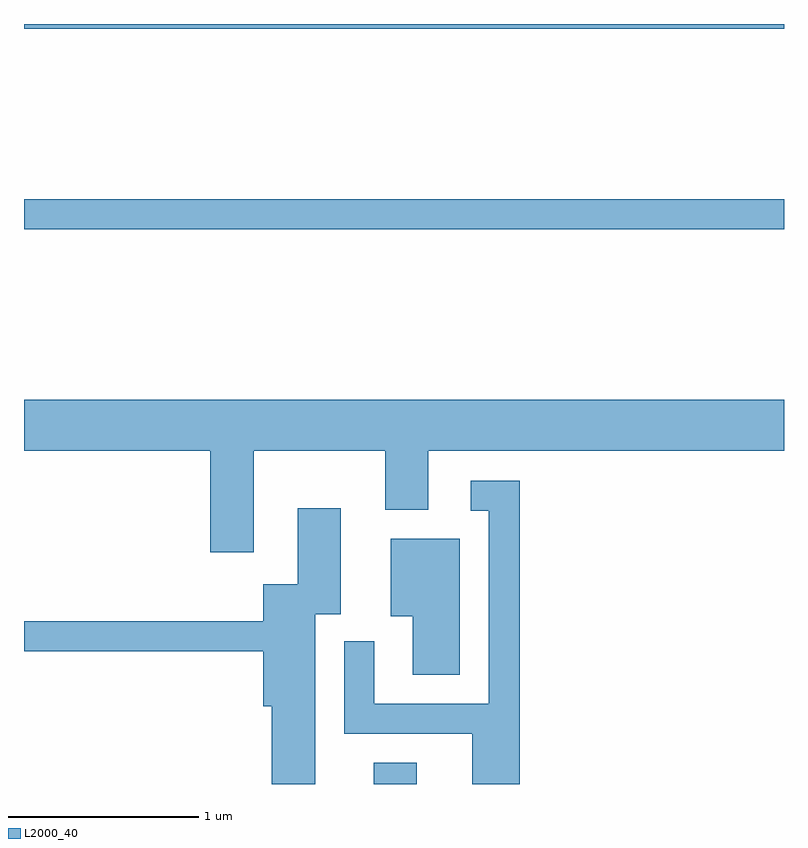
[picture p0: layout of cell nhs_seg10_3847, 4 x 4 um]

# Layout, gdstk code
import gdstk
lib = gdstk.Library(unit=1e-6, precision=1e-09)
def R(c, l, rs):  # rectangles x0, y0, x1, y1
    for r in rs: c.add(gdstk.rectangle(r[:2], r[2:], *l))
def P(c, l, *ps):  # polygons
    for p in ps: c.add(gdstk.Polygon(p, *l))
L2000_40 = (2000, 40)

nhs_seg10_3847 = lib.new_cell('nhs_seg10_3847')
R(nhs_seg10_3847, L2000_40, [(299.451,2196.522,299.679,2196.634), (297.611,2199.441,301.611,2199.599), (297.611,2200.496,301.611,2200.522)])
P(nhs_seg10_3847, L2000_40, [(298.819,2198.276),(299.511,2198.276),(299.511,2197.966),(299.739,2197.966),(299.739,2198.276),(301.611,2198.276),(301.611,2198.544),(297.611,2198.544),(297.611,2198.276),(298.591,2198.276),(298.591,2197.741),(298.819,2197.741)],
  [(300.219,2198.119),(299.963,2198.119),(299.963,2197.961),(300.056,2197.961),(300.056,2196.944),(299.454,2196.944),(299.454,2197.273),(299.296,2197.273),(299.296,2196.786),(299.971,2196.786),(299.971,2196.522),(300.219,2196.522)],
  [(299.144,2197.416),(299.279,2197.416),(299.279,2197.974),(299.051,2197.974),(299.051,2197.574),(298.871,2197.574),(298.871,2197.379),(297.611,2197.379),(297.611,2197.221),(298.871,2197.221),(298.871,2196.931),(298.916,2196.931),(298.916,2196.522),(299.144,2196.522)],
  [(299.904,2197.814),(299.541,2197.814),(299.541,2197.406),(299.656,2197.406),(299.656,2197.096),(299.904,2197.096)])

lib.write_gds('nhs_seg10_3847.gds')
